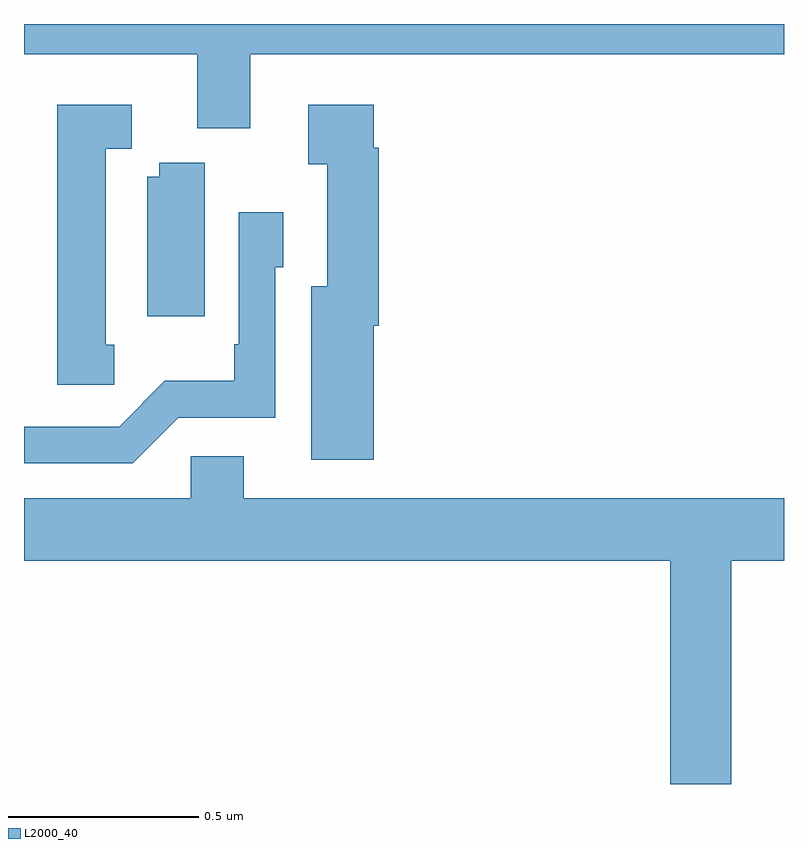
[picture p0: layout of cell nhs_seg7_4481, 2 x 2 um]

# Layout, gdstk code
import gdstk
lib = gdstk.Library(unit=1e-6, precision=1e-09)
def P(c, l, *ps):  # polygons
    for p in ps: c.add(gdstk.Polygon(p, *l))
L2000_40 = (2000, 40)

nhs_seg7_4481 = lib.new_cell('nhs_seg7_4481')
P(nhs_seg7_4481, L2000_40, [(173.596,1029.92),(175,1029.92),(175,1030),(173,1030),(173,1029.92),(173.456,1029.92),(173.456,1029.726),(173.596,1029.726)],
  [(173.237,1029.156),(173.215,1029.156),(173.215,1029.672),(173.284,1029.672),(173.284,1029.787),(173.087,1029.787),(173.087,1029.051),(173.237,1029.051)],
  [(173.92,1029.206),(173.933,1029.206),(173.933,1029.674),(173.92,1029.674),(173.92,1029.787),(173.748,1029.787),(173.748,1029.631),(173.798,1029.631),(173.798,1029.31),(173.756,1029.31),(173.756,1028.853),(173.92,1028.853)],
  [(173.476,1029.635),(173.356,1029.635),(173.356,1029.598),(173.324,1029.598),(173.324,1029.231),(173.476,1029.231)],
  [(173.406,1028.964),(173.661,1028.964),(173.661,1029.36),(173.682,1029.36),(173.682,1029.505),(173.565,1029.505),(173.565,1029.157),(173.553,1029.157),(173.553,1029.061),(173.371,1029.061),(173.25,1028.94),(173,1028.94),(173,1028.844),(173.286,1028.844)],
  [(174.861,1028.588),(175,1028.588),(175,1028.752),(173.578,1028.752),(173.578,1028.862),(173.439,1028.862),(173.439,1028.752),(173,1028.752),(173,1028.588),(174.701,1028.588),(174.701,1028),(174.861,1028)])

lib.write_gds('nhs_seg7_4481.gds')
